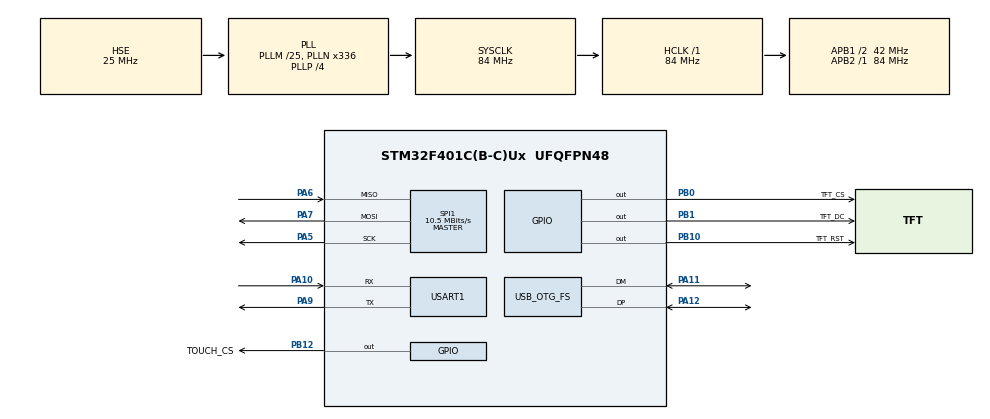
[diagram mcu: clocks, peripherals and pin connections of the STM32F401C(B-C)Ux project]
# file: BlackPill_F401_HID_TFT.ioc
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Mcu.Family=STM32F4
Mcu.Name=STM32F401C(B-C)Ux
Mcu.Package=UFQFPN48
NVIC.OTG_FS_IRQn=true\:0\:0\:false\:false\:true\:false\:true\:true
NVIC.PriorityGroup=NVIC_PRIORITYGROUP_4
PA10.Mode=Asynchronous
PA10.Signal=USART1_RX
PA11.Mode=Device_Only
PA11.Signal=USB_OTG_FS_DM
PA12.Mode=Device_Only
PA12.Signal=USB_OTG_FS_DP
PA13.Mode=Serial_Wire
PA13.Signal=SYS_JTMS-SWDIO
PA14.Mode=Serial_Wire
PA14.Signal=SYS_JTCK-SWCLK
PA5.Mode=Full_Duplex_Master
PA5.Signal=SPI1_SCK
PA6.Mode=Full_Duplex_Master
PA6.Signal=SPI1_MISO
PA7.Mode=Full_Duplex_Master
PA7.Signal=SPI1_MOSI
PA9.Mode=Asynchronous
PA9.Signal=USART1_TX
PB0.GPIO_Label=TFT_CS   
PB0.Signal=GPIO_Output
PB1.GPIO_Label=TFT_DC   
PB1.Signal=GPIO_Output
PB10.GPIO_Label=TFT_RST  
PB10.Signal=GPIO_Output
PB12.GPIO_Label=TOUCH_CS 
PB12.Signal=GPIO_Output
PH0\ -\ OSC_IN.Mode=HSE-External-Oscillator
PH0\ -\ OSC_IN.Signal=RCC_OSC_IN
PH1\ -\ OSC_OUT.Mode=HSE-External-Oscillator
PH1\ -\ OSC_OUT.Signal=RCC_OSC_OUT
ProjectManager.HeapSize=0x200
ProjectManager.StackSize=0x400
ProjectManager.TargetToolchain=STM32CubeIDE
RCC.48MHZClocksFreq_Value=48000000
RCC.AHBFreq_Value=84000000
RCC.APB1CLKDivider=RCC_HCLK_DIV2
RCC.APB1Freq_Value=42000000
RCC.APB1TimFreq_Value=84000000
RCC.APB2Freq_Value=84000000
RCC.APB2TimFreq_Value=84000000
RCC.CortexFreq_Value=84000000
RCC.HCLKFreq_Value=84000000
RCC.HSE_VALUE=25000000
RCC.HSI_VALUE=16000000
RCC.LSE_VALUE=32768
RCC.PLLM=25
RCC.PLLN=336
RCC.PLLP=RCC_PLLP_DIV4
RCC.PLLQ=7
RCC.SYSCLKFreq_VALUE=84000000
RCC.SYSCLKSource=RCC_SYSCLKSOURCE_PLLCLK
RCC.VCOOutputFreq_Value=336000000
SPI1.BaudRatePrescaler=SPI_BAUDRATEPRESCALER_8
SPI1.CalculateBaudRate=10.5 MBits/s
SPI1.Direction=SPI_DIRECTION_2LINES
SPI1.Mode=SPI_MODE_MASTER
SPI1.VirtualType=VM_MASTER
USART1.VirtualMode=VM_ASYNC
USB_DEVICE.CLASS_NAME_FS=CUSTOM_HID
USB_DEVICE.VirtualMode=CustomHid
USB_DEVICE.VirtualModeFS=Custom_Hid_FS
USB_OTG_FS.VirtualMode=Device_Only
VP_USB_DEVICE_VS_USB_DEVICE_CUSTOM_HID_FS.Mode=CUSTOM_HID_FS
board=custom

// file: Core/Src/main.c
/* USER CODE BEGIN Header */
/**
  ******************************************************************************
  * @file           : main.c
  * @brief          : Main program body
  ******************************************************************************
  * @attention
  *
  * Copyright (c) 2026 STMicroelectronics.
  * All rights reserved.
  *
  * This software is licensed under terms that can be found in the LICENSE file
  * in the root directory of this software component.
  * If no LICENSE file comes with this software, it is provided AS-IS.
  *
  ******************************************************************************
  */
/* USER CODE END Header */
#include "main.h"
#include "usb_device.h"

/* USER CODE BEGIN Includes */
#include "usbd_custom_hid_if.h"
#include "usbd_customhid.h"
#include "usb_device.h"
#include "ILI9488.h"
#include "gui.h"
#include "gui_state.h"
#include "hid_gui.h"
#include "xpt2046.h"
#include <stdio.h>
#include <string.h>

/* USER CODE END Includes */

/* USER CODE BEGIN PD */
#define DE_BUG 1
/* USER CODE END PD */

SPI_HandleTypeDef hspi1;

UART_HandleTypeDef huart1;

/* USER CODE BEGIN PV */
extern USBD_HandleTypeDef hUsbDeviceFS;
/* USER CODE END PV */

void SystemClock_Config(void);
static void MX_GPIO_Init(void);
static void MX_SPI1_Init(void);
static void MX_USART1_UART_Init(void);

int main(void)
{

  /* MCU Configuration--------------------------------------------------------*/

  /* Reset of all peripherals, Initializes the Flash interface and the Systick. */
  HAL_Init();

  /* Configure the system clock */
  SystemClock_Config();

  /* Initialize all configured peripherals */
  MX_GPIO_Init();
  MX_SPI1_Init();
  XPT2046_Init();
  MX_USART1_UART_Init();
   uint8_t msg[] = "STM32 HID started\r\n";
   HAL_UART_Transmit(&huart1, msg, sizeof(msg) - 1, 100);

  MX_USB_DEVICE_Init();
  /* USER CODE BEGIN 2 */

  lcd_init();
  HAL_Delay(100);
  fill_rectangle(0,0,480,320,COLOR_BLACK);
GUI_Draw();

//  TS_Point p;

  /* USER CODE END 2 */

  /* Infinite loop */
while (1)
{

  /* USER CODE BEGIN 3 */

	static uint32_t heartbeat_tmr = 0;
	static uint32_t last_pc_rx_tick = 0;
	static uint8_t pc_connected = 1;

	if (HAL_GetTick() - heartbeat_tmr > 200)
	{
	    heartbeat_tmr = HAL_GetTick();

	    uint8_t report[8];

	    report[0] = 0x7F;   // HEARTBEAT
	    report[1] = GuiState.value1;
	    report[2] = GuiState.value2;
	    report[3] = GuiState.value3;
	    report[4] = GuiState.sw1;
	    report[5] = GuiState.sw2;
	    report[6] = GuiState.sw3;
	    report[7] =
	        report[0] +
	        report[1] +
	        report[2] +
	        report[3] +
	        report[4] +
	        report[5] +
	        report[6];

	    USBD_CUSTOM_HID_SendReport(&hUsbDeviceFS, report, 8);
	}

  if (pc_connected && ((HAL_GetTick() - last_pc_rx_tick) > 3000))
  {
      pc_connected = 0;
      GUI_Status("Disconnect");
  }
  uint16_t tx, ty;
  static uint8_t touch_pressed = 0;

  if (GUI_IsCalibrationMode())
  {
      TS_Point raw = XPT2046_GetPoint();

      if (raw.z > 100)
      {
          if (!touch_pressed)
          {
              GUI_CalibrationTouch(raw.x, raw.y);
              touch_pressed = 1;
          }
      }
      else
      {
          touch_pressed = 0;
      }
  }
  else if (GUI_IsTouchTestMode())
  {
      if (XPT2046_GetScreenPoint(&tx, &ty))
      {
          if (!touch_pressed)
          {
              GUI_TouchTestTouch(tx, ty);
              touch_pressed = 1;
          }
      }
      else
      {
          touch_pressed = 0;
      }
  }
  else
  {
      if (XPT2046_GetScreenPoint(&tx, &ty))
      {
          if (!touch_pressed)
          {
              GUI_Touch(tx, ty);
              touch_pressed = 1;
          }
      }
      else
      {
          touch_pressed = 0;
      }
  }

  if (GuiStateChanged)
  {
      GuiStateChanged = 0;
      SendGuiStateToPC();
  }

  if (HidRxReady)
  {
      HidRxReady = 0;

      uint8_t sum =
          HidRxBuffer[0] +
          HidRxBuffer[1] +
          HidRxBuffer[2] +
          HidRxBuffer[3] +
          HidRxBuffer[4] +
          HidRxBuffer[5] +
          HidRxBuffer[6];

      if (HidRxBuffer[7] != sum)
      {
          GUI_Status("RX BAD PACKET");
      }
      else if (HidRxBuffer[0] == 0x02)
      {
          GUI_STATE old_state = GuiState;

          last_pc_rx_tick = HAL_GetTick();
          if (!pc_connected)
          {
              pc_connected = 1;
              GUI_Status("Ready");
          }

          GuiState.value1 = HidRxBuffer[1];
          GuiState.value2 = HidRxBuffer[2];
          GuiState.value3 = HidRxBuffer[3];

          GuiState.sw1 = HidRxBuffer[4] ? 1 : 0;
          GuiState.sw2 = HidRxBuffer[5] ? 1 : 0;
          GuiState.sw3 = HidRxBuffer[6] ? 1 : 0;

          GUI_RefreshChangedFromState(&old_state);

          SendGuiStateToPC();
      }
      else if (HidRxBuffer[0] == 0x10)
      {
          last_pc_rx_tick = HAL_GetTick();
          if (!pc_connected)
          {
              pc_connected = 1;
              GUI_Status("Ready");
          }
          GUI_StartCalibration();
      }
      else if (HidRxBuffer[0] == 0x11)
      {
          last_pc_rx_tick = HAL_GetTick();
          if (!pc_connected)
          {
              pc_connected = 1;
              GUI_Status("Ready");
          }
          GUI_StopCalibration();
      }
      else if (HidRxBuffer[0] == 0x12)
      {
          last_pc_rx_tick = HAL_GetTick();
          if (!pc_connected)
          {
              pc_connected = 1;
              GUI_Status("Ready");
          }
      }
      else
      {
          GUI_Status("RX UNKNOWN CMD");
      }
  }

  GUI_Task();
  HAL_Delay(20);
}
  /* USER CODE END 3 */
}

void SystemClock_Config(void)
{
  RCC_OscInitTypeDef RCC_OscInitStruct = {0};
  RCC_ClkInitTypeDef RCC_ClkInitStruct = {0};

  /** Configure the main internal regulator output voltage
  */
  __HAL_RCC_PWR_CLK_ENABLE();
  __HAL_PWR_VOLTAGESCALING_CONFIG(PWR_REGULATOR_VOLTAGE_SCALE2);

  /** Initializes the RCC Oscillators according to the specified parameters
  * in the RCC_OscInitTypeDef structure.
  */
  RCC_OscInitStruct.OscillatorType = RCC_OSCILLATORTYPE_HSE;
  RCC_OscInitStruct.HSEState = RCC_HSE_ON;
  RCC_OscInitStruct.PLL.PLLState = RCC_PLL_ON;
  RCC_OscInitStruct.PLL.PLLSource = RCC_PLLSOURCE_HSE;
  RCC_OscInitStruct.PLL.PLLM = 25;
  RCC_OscInitStruct.PLL.PLLN = 336;
  RCC_OscInitStruct.PLL.PLLP = RCC_PLLP_DIV4;
  RCC_OscInitStruct.PLL.PLLQ = 7;
  if (HAL_RCC_OscConfig(&RCC_OscInitStruct) != HAL_OK)
  {
    Error_Handler();
  }

  /** Initializes the CPU, AHB and APB buses clocks
  */
  RCC_ClkInitStruct.ClockType = RCC_CLOCKTYPE_HCLK|RCC_CLOCKTYPE_SYSCLK
                              |RCC_CLOCKTYPE_PCLK1|RCC_CLOCKTYPE_PCLK2;
  RCC_ClkInitStruct.SYSCLKSource = RCC_SYSCLKSOURCE_PLLCLK;
  RCC_ClkInitStruct.AHBCLKDivider = RCC_SYSCLK_DIV1;
  RCC_ClkInitStruct.APB1CLKDivider = RCC_HCLK_DIV2;
  RCC_ClkInitStruct.APB2CLKDivider = RCC_HCLK_DIV1;

  if (HAL_RCC_ClockConfig(&RCC_ClkInitStruct, FLASH_LATENCY_2) != HAL_OK)
  {
    Error_Handler();
  }
}

static void MX_SPI1_Init(void)
{

  /* SPI1 parameter configuration*/
  hspi1.Instance = SPI1;
  hspi1.Init.Mode = SPI_MODE_MASTER;
  hspi1.Init.Direction = SPI_DIRECTION_2LINES;
  hspi1.Init.DataSize = SPI_DATASIZE_8BIT;
  hspi1.Init.CLKPolarity = SPI_POLARITY_LOW;
  hspi1.Init.CLKPhase = SPI_PHASE_1EDGE;
  hspi1.Init.NSS = SPI_NSS_SOFT;
  hspi1.Init.BaudRatePrescaler = SPI_BAUDRATEPRESCALER_4;
  hspi1.Init.FirstBit = SPI_FIRSTBIT_MSB;
  hspi1.Init.TIMode = SPI_TIMODE_DISABLE;
  hspi1.Init.CRCCalculation = SPI_CRCCALCULATION_DISABLE;
  hspi1.Init.CRCPolynomial = 10;
  if (HAL_SPI_Init(&hspi1) != HAL_OK)
  {
    Error_Handler();
  }

}

static void MX_USART1_UART_Init(void)
{

  huart1.Instance = USART1;
  huart1.Init.BaudRate = 115200;
  huart1.Init.WordLength = UART_WORDLENGTH_8B;
  huart1.Init.StopBits = UART_STOPBITS_1;
  huart1.Init.Parity = UART_PARITY_NONE;
  huart1.Init.Mode = UART_MODE_TX_RX;
  huart1.Init.HwFlowCtl = UART_HWCONTROL_NONE;
  huart1.Init.OverSampling = UART_OVERSAMPLING_16;
  if (HAL_UART_Init(&huart1) != HAL_OK)
  {
    Error_Handler();
  }

}

static void MX_GPIO_Init(void)
{
  GPIO_InitTypeDef GPIO_InitStruct = {0};

  /* GPIO Ports Clock Enable */
  __HAL_RCC_GPIOH_CLK_ENABLE();
  __HAL_RCC_GPIOA_CLK_ENABLE();
  __HAL_RCC_GPIOB_CLK_ENABLE();

  /*Configure GPIO pin Output Level */
  HAL_GPIO_WritePin(GPIOB, TFT_CS_Pin|TFT_DC_Pin|TFT_RST_Pin|TOUCH_CS_Pin, GPIO_PIN_RESET);

  /*Configure GPIO pins : TFT_CS_Pin TFT_DC_Pin TFT_RST_Pin TOUCH_CS_Pin */
  GPIO_InitStruct.Pin = TFT_CS_Pin|TFT_DC_Pin|TFT_RST_Pin|TOUCH_CS_Pin;
  GPIO_InitStruct.Mode = GPIO_MODE_OUTPUT_PP;
  GPIO_InitStruct.Pull = GPIO_NOPULL;
  GPIO_InitStruct.Speed = GPIO_SPEED_FREQ_LOW;
  HAL_GPIO_Init(GPIOB, &GPIO_InitStruct);

}

void Error_Handler(void)
{
  __disable_irq();
  while (1)
  {
  }
}
